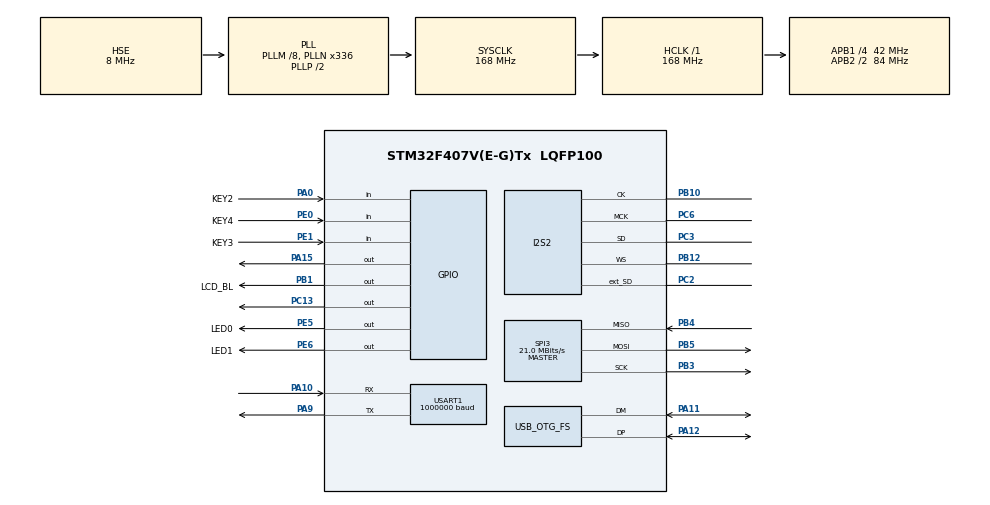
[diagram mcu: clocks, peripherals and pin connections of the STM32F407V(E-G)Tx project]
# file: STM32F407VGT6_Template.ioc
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Dma.I2S2_EXT_RX.0.Direction=DMA_PERIPH_TO_MEMORY
Dma.I2S2_EXT_RX.0.FIFOMode=DMA_FIFOMODE_DISABLE
Dma.I2S2_EXT_RX.0.Instance=DMA1_Stream3
Dma.I2S2_EXT_RX.0.MemDataAlignment=DMA_MDATAALIGN_HALFWORD
Dma.I2S2_EXT_RX.0.MemInc=DMA_MINC_ENABLE
Dma.I2S2_EXT_RX.0.Mode=DMA_CIRCULAR
Dma.I2S2_EXT_RX.0.PeriphDataAlignment=DMA_PDATAALIGN_HALFWORD
Dma.I2S2_EXT_RX.0.PeriphInc=DMA_PINC_DISABLE
Dma.I2S2_EXT_RX.0.Priority=DMA_PRIORITY_MEDIUM
Dma.Request0=I2S2_EXT_RX
Dma.Request1=SPI2_TX
Dma.Request2=USART1_TX
Dma.SPI2_TX.1.Direction=DMA_MEMORY_TO_PERIPH
Dma.SPI2_TX.1.FIFOMode=DMA_FIFOMODE_DISABLE
Dma.SPI2_TX.1.Instance=DMA1_Stream4
Dma.SPI2_TX.1.MemDataAlignment=DMA_MDATAALIGN_HALFWORD
Dma.SPI2_TX.1.MemInc=DMA_MINC_ENABLE
Dma.SPI2_TX.1.Mode=DMA_CIRCULAR
Dma.SPI2_TX.1.PeriphDataAlignment=DMA_PDATAALIGN_HALFWORD
Dma.SPI2_TX.1.PeriphInc=DMA_PINC_DISABLE
Dma.SPI2_TX.1.Priority=DMA_PRIORITY_MEDIUM
Dma.USART1_TX.2.Direction=DMA_MEMORY_TO_PERIPH
Dma.USART1_TX.2.FIFOMode=DMA_FIFOMODE_DISABLE
Dma.USART1_TX.2.Instance=DMA2_Stream7
Dma.USART1_TX.2.MemDataAlignment=DMA_MDATAALIGN_BYTE
Dma.USART1_TX.2.MemInc=DMA_MINC_ENABLE
Dma.USART1_TX.2.Mode=DMA_NORMAL
Dma.USART1_TX.2.PeriphDataAlignment=DMA_PDATAALIGN_BYTE
Dma.USART1_TX.2.PeriphInc=DMA_PINC_DISABLE
Dma.USART1_TX.2.Priority=DMA_PRIORITY_MEDIUM
FATFS._FS_LOCK=8
FATFS._CODE_PAGE=936
FATFS._LFN_UNICODE=0
FATFS._USE_LFN=0
I2S2.AudioFreq=I2S_AUDIOFREQ_48K
I2S2.CPOL=I2S_CPOL_LOW
I2S2.ErrorAudioFreq=0.19 %
I2S2.FullDuplexMode=I2S_FULLDUPLEXMODE_ENABLE
I2S2.Instance=SPI$Index
I2S2.RealAudioFreq=48.095 KHz
I2S2.VirtualMode=I2S_MODE_MASTER
Mcu.Family=STM32F4
Mcu.Name=STM32F407V(E-G)Tx
Mcu.Package=LQFP100
NVIC.DMA1_Stream3_IRQn=true\:0\:0\:false\:false\:true\:false\:true\:true
NVIC.DMA1_Stream4_IRQn=true\:0\:0\:false\:false\:true\:false\:true\:true
NVIC.DMA2_Stream7_IRQn=true\:0\:0\:false\:false\:true\:false\:true\:true
NVIC.OTG_FS_IRQn=true\:7\:0\:true\:false\:true\:false\:true\:true
NVIC.PriorityGroup=NVIC_PRIORITYGROUP_4
NVIC.TIM4_IRQn=true\:15\:0\:false\:false\:true\:false\:true\:true
NVIC.TimeBase=TIM4_IRQn
NVIC.TimeBaseIP=TIM4
NVIC.USART1_IRQn=true\:0\:0\:false\:false\:true\:true\:true\:true
PA0-WKUP.GPIO_Label=KEY2
PA0-WKUP.GPIO_PuPd=GPIO_PULLUP
PA0-WKUP.Signal=GPIO_Input
PA10.Mode=Asynchronous
PA10.Signal=USART1_RX
PA11.Mode=Device_Only
PA11.Signal=USB_OTG_FS_DM
PA12.Mode=Device_Only
PA12.Signal=USB_OTG_FS_DP
PA13.Mode=Serial_Wire
PA13.Signal=SYS_JTMS-SWDIO
PA14.Mode=Serial_Wire
PA14.Signal=SYS_JTCK-SWCLK
PA15.Signal=GPIO_Output
PA9.Mode=Asynchronous
PA9.Signal=USART1_TX
PB1.GPIO_Label=LCD_BL
PB1.Signal=GPIO_Output
PB10.Mode=Full_Duplex_Master
PB10.Signal=I2S2_CK
PB12.Mode=Full_Duplex_Master
PB12.Signal=I2S2_WS
PB3.Mode=Full_Duplex_Master
PB3.Signal=SPI3_SCK
PB4.Mode=Full_Duplex_Master
PB4.Signal=SPI3_MISO
PB5.Mode=Full_Duplex_Master
PB5.Signal=SPI3_MOSI
PC13-ANTI_TAMP.Signal=GPIO_Output
PC2.Mode=Full_Duplex_Master
PC2.Signal=I2S2_ext_SD
PC3.Mode=Full_Duplex_Master
PC3.Signal=I2S2_SD
PC6.Mode=Master_Clock_Activated
PC6.Signal=I2S2_MCK
PE0.GPIO_Label=KEY4
PE0.GPIO_PuPd=GPIO_PULLUP
PE0.Signal=GPIO_Input
PE1.GPIO_Label=KEY3
PE1.GPIO_PuPd=GPIO_PULLUP
PE1.Signal=GPIO_Input
PE5.GPIO_Label=LED0
PE5.GPIO_PuPd=GPIO_PULLUP
PE5.PinState=GPIO_PIN_SET
PE5.Signal=GPIO_Output
PE6.GPIO_Label=LED1
PE6.GPIO_PuPd=GPIO_PULLUP
PE6.PinState=GPIO_PIN_SET
PE6.Signal=GPIO_Output
PH0-OSC_IN.Mode=HSE-External-Oscillator
PH0-OSC_IN.Signal=RCC_OSC_IN
PH1-OSC_OUT.Mode=HSE-External-Oscillator
PH1-OSC_OUT.Signal=RCC_OSC_OUT
ProjectManager.HeapSize=0x2000
ProjectManager.StackSize=0x1000
ProjectManager.TargetToolchain=MDK-ARM V5.32
RCC.48MHZClocksFreq_Value=48000000
RCC.AHBFreq_Value=168000000
RCC.APB1CLKDivider=RCC_HCLK_DIV4
RCC.APB1Freq_Value=42000000
RCC.APB1TimFreq_Value=84000000
RCC.APB2CLKDivider=RCC_HCLK_DIV2
RCC.APB2Freq_Value=84000000
RCC.APB2TimFreq_Value=168000000
RCC.CortexFreq_Value=168000000
RCC.HCLKFreq_Value=168000000
RCC.HSE_VALUE=8000000
RCC.HSI_VALUE=16000000
RCC.LSE_VALUE=32768
RCC.PLLI2SN=197
RCC.PLLM=8
RCC.PLLN=336
RCC.PLLQ=7
RCC.SYSCLKFreq_VALUE=168000000
RCC.SYSCLKSource=RCC_SYSCLKSOURCE_PLLCLK
RCC.VCOOutputFreq_Value=336000000
SPI3.CalculateBaudRate=21.0 MBits/s
SPI3.Direction=SPI_DIRECTION_2LINES
SPI3.Mode=SPI_MODE_MASTER
SPI3.VirtualType=VM_MASTER
USART1.BaudRate=1000000
USART1.VirtualMode=VM_ASYNC
USB_DEVICE.CLASS_NAME_FS=CUSTOM_HID
USB_DEVICE.VirtualMode-CUSTOM_HID_FS=CustomHid
USB_DEVICE.VirtualModeFS=Custom_Hid_FS
USB_OTG_FS.VirtualMode=Device_Only
VP_FATFS_VS_Generic.Mode=User_defined
VP_SYS_VS_tim4.Mode=TIM4
VP_USB_DEVICE_VS_USB_DEVICE_CUSTOM_HID_FS.Mode=CUSTOM_HID_FS
board=custom

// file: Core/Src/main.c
/* USER CODE BEGIN Header */
/**
 ******************************************************************************
 * @file           : main.c
 * @brief          : Main program body
 ******************************************************************************
 * @attention
 *
 * Copyright (c) 2025 STMicroelectronics.
 * All rights reserved.
 *
 * This software is licensed under terms that can be found in the LICENSE file
 * in the root directory of this software component.
 * If no LICENSE file comes with this software, it is provided AS-IS.
 *
 ******************************************************************************
 */
/* USER CODE END Header */
#include "main.h"
#include "dma.h"
#include "fatfs.h"
#include "i2s.h"
#include "spi.h"
#include "usart.h"
#include "usb_device.h"
#include "gpio.h"

/* USER CODE BEGIN Includes */
#include "log_debug.h"
#include "lcd.h"
#include "text.h"
#include "task_manager.h"
#include "usbd_cdc_if.h"
#include "test.h"
#include "apps.h"
/* USER CODE END Includes */

void SystemClock_Config(void);

/* USER CODE BEGIN 0 */
#include "key_driver.h"
extern const struct key_driver_ops iokey_ops;
void buttom_event_task(void *priv)
{
    while (1)
    {
        // log_info("buttom_event_task \n");
        Key_Scan((struct key_driver_ops *)(&iokey_ops));
        uint32_t tickstart = HAL_GetTick();
        vTaskDelay(10);
        // log_info("buttom_event_task %d \n",HAL_GetTick()-tickstart);
    }
}

void app_core_function(void *priv)
{
    task_create(buttom_event_task, NULL, "buttom_task");
    //    uint8_t *msg = (uint8_t *)priv;
    //    uint8_t pend = 0;
    //    int32_t msg[16];
    while (1)
    {
        // log_info("app_core_function \n");
        HAL_GPIO_WritePin(GPIOE, GPIO_PIN_5 | GPIO_PIN_6, GPIO_PIN_SET);
        vTaskDelay(500);
        HAL_GPIO_WritePin(GPIOE, GPIO_PIN_5 | GPIO_PIN_6, GPIO_PIN_RESET);
        vTaskDelay(500);
    }
}
/* USER CODE END 0 */

int main(void)
{

  /* USER CODE BEGIN 1 */
    // SCB->VTOR = 0x20000000;
    /* 原 log_info() 已移至 MX_USART1_UART_Init() 之后: 此处 UART 未初始化, 打印必然失败 */
  /* USER CODE END 1 */

  /* MCU Configuration--------------------------------------------------------*/

  /* Reset of all peripherals, Initializes the Flash interface and the Systick. */
  HAL_Init();

  /* Configure the system clock */
  SystemClock_Config();

  /* Initialize all configured peripherals */
  MX_GPIO_Init();
  MX_DMA_Init();
  MX_USART1_UART_Init();
  MX_I2S2_Init();
  MX_SPI3_Init();
  MX_USB_DEVICE_Init();
  MX_FATFS_Init();
  /* USER CODE BEGIN 2 */
    /* 串口最早可用点: 紧随 MX_USART1_UART_Init(), 且在 LCD_Init() 之前.
       LCD/FSMC 若外设未接可能阻塞, 放在其后会看不到任何日志 */
    log_info("STMF407 software start\r\n");
    static uint32_t s_heartbeat = 0;

#if LCD_ENABLE
    LCD_Init();
    LCD_Clear(WHITE);
    LCD_ShowString(10, 10, (const u8 *)"TFT LCD Display", BLACK);
#endif /* LCD_ENABLE */

    //SD_Driver.disk_initialize(0);
    // fs_test();
    //iis_tx_test();
    log_info("app_core_init \n");
    app_core_init();

    //启动rtos 后以下代码不会跑了的

  /* USER CODE END 2 */

  /* Infinite loop */
    while (1)
    {

    /* USER CODE BEGIN 3 */
        log_info("heartbeat %u\r\n", s_heartbeat++);
        //CDC_Transmit_FS("USB CDC test\n", 15);
        // int8_t USBD_MIDI_SendPacket_FS(uint8_t *report, uint16_t len);
        // uint8_t packet[4] = {0x09, 0x90, 0x3C, 0x64};
        // USBD_MIDI_SendPacket_FS(packet, 4);
        HAL_GPIO_WritePin(GPIOA, GPIO_PIN_15, GPIO_PIN_SET);
        HAL_Delay(500);
        HAL_GPIO_WritePin(GPIOA, GPIO_PIN_15, GPIO_PIN_RESET);
        HAL_Delay(500);
    }
    return 0;
  /* USER CODE END 3 */
}

void SystemClock_Config(void)
{
  RCC_OscInitTypeDef RCC_OscInitStruct = {0};
  RCC_ClkInitTypeDef RCC_ClkInitStruct = {0};

  /** Configure the main internal regulator output voltage
  */
  __HAL_RCC_PWR_CLK_ENABLE();
  __HAL_PWR_VOLTAGESCALING_CONFIG(PWR_REGULATOR_VOLTAGE_SCALE1);

  /** Initializes the RCC Oscillators according to the specified parameters
  * in the RCC_OscInitTypeDef structure.
  */
  RCC_OscInitStruct.OscillatorType = RCC_OSCILLATORTYPE_HSE;
  RCC_OscInitStruct.HSEState = RCC_HSE_ON;
  RCC_OscInitStruct.PLL.PLLState = RCC_PLL_ON;
  RCC_OscInitStruct.PLL.PLLSource = RCC_PLLSOURCE_HSE;
  RCC_OscInitStruct.PLL.PLLM = 8;
  RCC_OscInitStruct.PLL.PLLN = 336;
  RCC_OscInitStruct.PLL.PLLP = RCC_PLLP_DIV2;
  RCC_OscInitStruct.PLL.PLLQ = 7;
  if (HAL_RCC_OscConfig(&RCC_OscInitStruct) != HAL_OK)
  {
    Error_Handler();
  }

  /** Initializes the CPU, AHB and APB buses clocks
  */
  RCC_ClkInitStruct.ClockType = RCC_CLOCKTYPE_HCLK|RCC_CLOCKTYPE_SYSCLK
                              |RCC_CLOCKTYPE_PCLK1|RCC_CLOCKTYPE_PCLK2;
  RCC_ClkInitStruct.SYSCLKSource = RCC_SYSCLKSOURCE_PLLCLK;
  RCC_ClkInitStruct.AHBCLKDivider = RCC_SYSCLK_DIV1;
  RCC_ClkInitStruct.APB1CLKDivider = RCC_HCLK_DIV4;
  RCC_ClkInitStruct.APB2CLKDivider = RCC_HCLK_DIV2;

  if (HAL_RCC_ClockConfig(&RCC_ClkInitStruct, FLASH_LATENCY_5) != HAL_OK)
  {
    Error_Handler();
  }
}

void HAL_TIM_PeriodElapsedCallback(TIM_HandleTypeDef *htim)
{
  if (htim->Instance == TIM4)
  {
    HAL_IncTick();
  }
  /* USER CODE BEGIN Callback 1 */
    if (htim->Instance == TIM4)
    {
        log_timer_calculation();
    }
  /* USER CODE END Callback 1 */
}

void Error_Handler(void)
{
    __disable_irq();
    while (1)
    {
    }
}
